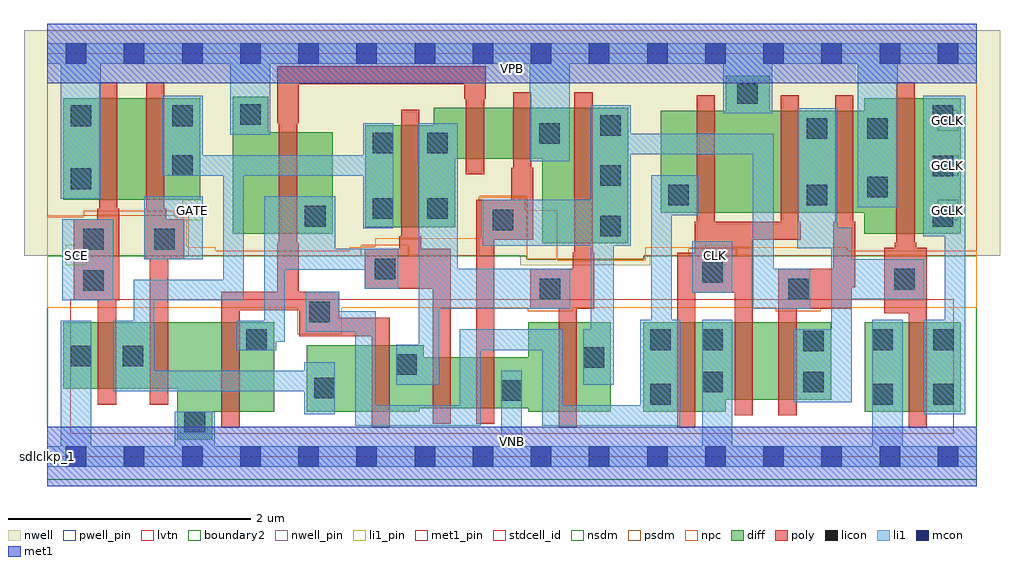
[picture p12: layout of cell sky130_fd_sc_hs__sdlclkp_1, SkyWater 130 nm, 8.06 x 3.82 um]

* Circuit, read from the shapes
.subckt sky130_fd_sc_hs__sdlclkp_1 CLK GATE GCLK SCE VGND VNB VPB VPWR
XM1 n1 SCE VGND VNB sky130_fd_pr__nfet_01v8_lvt w=0.55 l=0.15
XM2 VGND GATE n1 VNB sky130_fd_pr__nfet_01v8_lvt w=0.55 l=0.15
XM3 n2 n3 VGND VNB sky130_fd_pr__nfet_01v8_lvt w=0.74 l=0.15
XM4 n4 n3 n1 VNB sky130_fd_pr__nfet_01v8_lvt w=0.55 l=0.15
XM5 n5 n2 n4 VNB sky130_fd_pr__nfet_01v8_lvt w=0.42 l=0.15
XM6 VGND n6 n5 VNB sky130_fd_pr__nfet_01v8_lvt w=0.42 l=0.15
XM7 n6 n4 VGND VNB sky130_fd_pr__nfet_01v8_lvt w=0.74 l=0.15
XM8 VGND CLK n3 VNB sky130_fd_pr__nfet_01v8_lvt w=0.74 l=0.15
XM9 n7 CLK VGND VNB sky130_fd_pr__nfet_01v8_lvt w=0.64 l=0.15
XM10 n8 n6 n7 VNB sky130_fd_pr__nfet_01v8_lvt w=0.64 l=0.15
XM11 GCLK n8 VGND VNB sky130_fd_pr__nfet_01v8_lvt w=0.74 l=0.15
XM12 n9 SCE VPWR VPB sky130_fd_pr__pfet_01v8 w=0.84 l=0.15
XM13 n1 GATE n9 VPB sky130_fd_pr__pfet_01v8 w=0.84 l=0.15
XM14 n2 n3 VPWR VPB sky130_fd_pr__pfet_01v8 w=0.84 l=0.15
XM15 n4 n2 n1 VPB sky130_fd_pr__pfet_01v8 w=0.84 l=0.15
XM16 n10 n3 n4 VPB sky130_fd_pr__pfet_01v8 w=0.42 l=0.15
XM17 VPWR n6 n10 VPB sky130_fd_pr__pfet_01v8 w=0.42 l=0.15
XM18 n6 n4 VPWR VPB sky130_fd_pr__pfet_01v8 w=1.12 l=0.15
XM19 VPWR CLK n3 VPB sky130_fd_pr__pfet_01v8 w=0.84 l=0.15
XM20 n8 CLK VPWR VPB sky130_fd_pr__pfet_01v8 w=0.84 l=0.15
XM21 VPWR n6 n8 VPB sky130_fd_pr__pfet_01v8 w=0.84 l=0.15
XM22 GCLK n8 VPWR VPB sky130_fd_pr__pfet_01v8 w=1.12 l=0.15
.ends

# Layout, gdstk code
import gdstk
lib = gdstk.Library(unit=1e-6, precision=1e-09)
def R(c, l, rs):  # rectangles x0, y0, x1, y1
    for r in rs: c.add(gdstk.rectangle(r[:2], r[2:], *l))
def A(c, l, x, y, w, h, nx, ny, dx, dy):  # array of equal rectangles
    R(c, l, [(x+i*dx, y+j*dy, x+i*dx+w, y+j*dy+h) for i in range(nx) for j in range(ny)])
def P(c, l, *ps):  # polygons
    for p in ps: c.add(gdstk.Polygon(p, *l))
nwell_pin = (64, 16)
nwell = (64, 20)
diff = (65, 20)
poly = (66, 20)
licon = (66, 44)
li1_pin = (67, 16)
li1 = (67, 20)
mcon = (67, 44)
met1_pin = (68, 16)
met1 = (68, 20)
stdcell_id = (81, 4)
nsdm = (93, 44)
psdm = (94, 20)
npc = (95, 20)
pwell_pin = (122, 16)
lvtn = (125, 44)
boundary2 = (236, 0)

sky130_fd_sc_hs__sdlclkp = lib.new_cell('sky130_fd_sc_hs__sdlclkp_1')
R(sky130_fd_sc_hs__sdlclkp, nwell_pin, [(0,3.085,7.68,3.33)])
P(sky130_fd_sc_hs__sdlclkp, nwell, [(7.87,3.52),(-0.19,3.52),(-0.19,1.66),(3.91,1.66),(3.91,1.58),(4.98,1.58),(4.98,1.66),(7.87,1.66)])
R(sky130_fd_sc_hs__sdlclkp, diff, [(6.755,0.37,7.545,1.11), (0.135,2.12,1.265,2.96)])
P(sky130_fd_sc_hs__sdlclkp, diff, [(1.875,1.11),(0.135,1.11),(0.135,0.56),(1.075,0.56),(1.075,0.14),(1.365,0.14),(1.365,0.37),(1.875,0.37)],
  [(2.36,2.68),(1.825,2.68),(1.825,2.97),(1.535,2.97),(1.535,1.84),(2.36,1.84)],
  [(4.655,1.11),(3.975,1.11),(3.975,0.82),(3.11,0.82),(3.11,0.92),(2.145,0.92),(2.145,0.37),(3.08,0.37),(3.08,0.4),(3.975,0.4),(3.975,0.37),(4.655,0.37)],
  [(4.8,2.88),(3.195,2.88),(3.195,2.735),(2.63,2.735),(2.63,1.895),(3.37,1.895),(3.37,2.46),(4.09,2.46),(4.09,1.76),(4.8,1.76)],
  [(6.475,1.11),(4.925,1.11),(4.925,0.37),(5.605,0.37),(5.605,0.47),(6.475,0.47)],
  [(7.545,2.96),(6.75,2.96),(6.75,2.855),(5.97,2.855),(5.97,3.145),(5.605,3.145),(5.605,2.855),(5.07,2.855),(5.07,2.015),(6.75,2.015),(6.75,1.84),(7.545,1.84)])
P(sky130_fd_sc_hs__sdlclkp, poly, [(7.265,1.725),(7.18,1.725),(7.18,1.765),(7.165,1.765),(7.165,3.09),(7.015,3.09),(7.015,1.765),(7,1.765),(7,1.725),(6.915,1.725),(6.915,1.185),(7.115,1.185),(7.115,0.24),(7.265,0.24)],
  [(6.675,1.94),(6.66,1.94),(6.66,2.985),(6.51,2.985),(6.51,1.94),(6.495,1.94),(6.495,1.55),(6.04,1.55),(6.04,0.34),(6.19,0.34),(6.19,1.22),(6.645,1.22),(6.645,1.4),(6.675,1.4)],
  [(6.225,1.94),(6.21,1.94),(6.21,2.985),(6.06,2.985),(6.06,1.94),(5.515,1.94),(5.515,2.985),(5.365,2.985),(5.365,1.94),(5.35,1.94),(5.35,1.685),(5.205,1.685),(5.205,0.24),(5.355,0.24),(5.355,1.355),(5.68,1.355),(5.68,0.34),(5.83,0.34),(5.83,1.79),(6.225,1.79)],
  [(4.52,1.685),(4.505,1.685),(4.505,3.01),(4.355,3.01),(4.355,1.685),(4.34,1.685),(4.34,1.55),(3.99,1.55),(3.99,1.22),(4.225,1.22),(4.225,0.24),(4.375,0.24),(4.375,1.22),(4.52,1.22)],
  [(4.015,2.385),(4,2.385),(4,3.01),(3.85,3.01),(3.85,2.385),(3.835,2.385),(3.835,2.12),(3.545,2.12),(3.545,0.27),(3.695,0.27),(3.695,1.79),(4.015,1.79)],
  [(3.625,3.225),(1.9,3.225),(1.9,2.755),(1.915,2.755),(1.915,1.765),(1.9,1.765),(1.9,1.36),(1.44,1.36),(1.44,0.24),(1.59,0.24),(1.59,1.21),(2.085,1.21),(2.085,0.995),(2.68,0.995),(2.68,0.24),(2.83,0.24),(2.83,1.145),(2.415,1.145),(2.415,1.36),(2.08,1.36),(2.08,1.765),(2.065,1.765),(2.065,2.755),(2.08,2.755),(2.08,3.075),(3.445,3.075),(3.445,2.955),(3.46,2.955),(3.46,2.33),(3.61,2.33),(3.61,2.955),(3.625,2.955)],
  [(3.335,1.715),(3.09,1.715),(3.09,1.82),(3.075,1.82),(3.075,2.865),(2.925,2.865),(2.925,1.82),(2.91,1.82),(2.91,1.715),(2.625,1.715),(2.625,1.385),(3.185,1.385),(3.185,0.27),(3.335,0.27)],
  [(1.135,1.96),(0.985,1.96),(0.985,2.045),(0.97,2.045),(0.97,3.09),(0.82,3.09),(0.82,2.045),(0.805,2.045),(0.805,1.63),(0.85,1.63),(0.85,0.43),(1,0.43),(1,1.63),(1.135,1.63)],
  [(0.595,2.045),(0.58,2.045),(0.58,3.09),(0.43,3.09),(0.43,2.045),(0.415,2.045),(0.415,1.96),(0.22,1.96),(0.22,1.29),(0.42,1.29),(0.42,0.43),(0.57,0.43),(0.57,1.29),(0.595,1.29)])
A(sky130_fd_sc_hs__sdlclkp, licon, 4.57, 1.82, 0.17, 0.17, 1, 3, 0, 0.415)
A(sky130_fd_sc_hs__sdlclkp, licon, 7.315, 1.9, 0.17, 0.17, 1, 3, 0, 0.415)
R(sky130_fd_sc_hs__sdlclkp, licon, [(1.135,0.2,1.305,0.37), (4.98,0.43,5.15,0.6), (6.815,0.43,6.985,0.6), (7.32,0.43,7.49,0.6), (3.75,0.46,3.92,0.63), (2.205,0.48,2.375,0.65), (5.41,0.53,5.58,0.7), (6.245,0.53,6.415,0.7), (2.885,0.675,3.055,0.845), (4.43,0.735,4.6,0.905), (0.195,0.745,0.365,0.915), (0.625,0.745,0.795,0.915), (6.245,0.87,6.415,1.04), (1.645,0.88,1.815,1.05), (4.98,0.88,5.15,1.05), (5.41,0.88,5.58,1.05), (6.815,0.88,6.985,1.05), (7.32,0.88,7.49,1.05), (2.165,1.11,2.335,1.28), (4.07,1.3,4.24,1.47), (6.12,1.3,6.29,1.47), (0.3,1.37,0.47,1.54), (6.995,1.38,7.165,1.55), (5.41,1.435,5.58,1.605), (2.705,1.465,2.875,1.635), (0.3,1.71,0.47,1.88), (0.885,1.71,1.055,1.88), (3.68,1.87,3.85,2.04), (2.13,1.9,2.3,2.07), (2.69,1.965,2.86,2.135), (3.14,1.965,3.31,2.135), (5.13,2.075,5.3,2.245), (6.275,2.075,6.445,2.245), (6.775,2.14,6.945,2.31), (0.195,2.21,0.365,2.38), (1.035,2.32,1.205,2.49), (2.69,2.505,2.86,2.675), (3.14,2.505,3.31,2.675), (4.065,2.585,4.235,2.755), (6.275,2.625,6.445,2.795), (6.775,2.625,6.945,2.795), (0.195,2.73,0.365,2.9), (1.035,2.73,1.205,2.9), (1.595,2.74,1.765,2.91), (5.7,2.915,5.87,3.085)])
A(sky130_fd_sc_hs__sdlclkp, li1_pin, 7.355, 1.95, 0.17, 0.17, 1, 3, 0, 0.37)
R(sky130_fd_sc_hs__sdlclkp, li1_pin, [(0.155,1.58,0.325,1.75), (5.435,1.58,5.605,1.75), (1.115,1.95,1.285,2.12)])
R(sky130_fd_sc_hs__sdlclkp, li1, [(0.125,1.29,0.545,1.96), (5.33,1.355,5.66,1.78), (0.805,1.63,1.285,2.15)])
P(sky130_fd_sc_hs__sdlclkp, li1, [(0,-0.085),(0,0.085),(0.115,0.085),(0.115,1.12),(0.365,1.12),(0.365,0.085),(1.055,0.085),(1.055,0.37),(1.385,0.37),(1.385,0.085),(3.75,0.085),(3.75,0.71),(3.92,0.71),(3.92,0.085),(5.41,0.085),(5.41,1.13),(5.66,1.13),(5.66,0.085),(6.815,0.085),(6.815,1.13),(7.065,1.13),(7.065,0.085),(7.68,0.085),(7.68,-0.085)],
  [(0,3.245),(0,3.415),(7.68,3.415),(7.68,3.245),(7.025,3.245),(7.025,2.06),(6.695,2.06),(6.695,3.245),(5.99,3.245),(5.99,2.835),(5.585,2.835),(5.585,3.245),(4.315,3.245),(4.315,2.44),(3.985,2.44),(3.985,3.245),(1.845,3.245),(1.845,2.66),(1.515,2.66),(1.515,3.245),(0.445,3.245),(0.445,2.13),(0.115,2.13),(0.115,3.245)],
  [(7.235,1.82),(7.235,2.98),(7.585,2.98),(7.585,0.35),(7.24,0.35),(7.24,1.13),(7.415,1.13),(7.415,1.82)],
  [(0.545,0.54),(0.545,1.12),(0.715,1.12),(0.715,1.46),(1.455,1.46),(1.455,2.32),(0.955,2.32),(0.955,2.98),(1.285,2.98),(1.285,2.49),(2.61,2.49),(2.61,2.755),(2.86,2.755),(2.86,1.885),(2.61,1.885),(2.61,2.32),(1.625,2.32),(1.625,1.29),(0.885,1.29),(0.885,0.71),(2.125,0.71),(2.125,0.78),(2.375,0.78),(2.375,0.35),(2.125,0.35),(2.125,0.54)],
  [(3.07,2.425),(3.06,2.425),(3.06,2.755),(3.39,2.755),(3.39,1.55),(4.32,1.55),(4.32,1.22),(3.24,1.22),(3.24,0.595),(2.885,0.595),(2.885,0.925),(3.07,0.925)],
  [(4.26,0.425),(4.9,0.425),(4.9,1.13),(4.99,1.13),(4.99,2.325),(5.38,2.325),(5.38,1.995),(5.16,1.995),(5.16,1.13),(5.23,1.13),(5.23,0.255),(4.09,0.255),(4.09,0.88),(3.58,0.88),(3.58,0.255),(2.545,0.255),(2.545,1.03),(2.135,1.03),(2.135,1.36),(2.415,1.36),(2.415,1.2),(2.715,1.2),(2.715,0.425),(3.41,0.425),(3.41,1.05),(4.26,1.05)],
  [(4.49,2.12),(4.49,2.9),(4.82,2.9),(4.82,2.665),(6,2.665),(6,1.55),(6.305,1.55),(6.305,1.22),(5.83,1.22),(5.83,2.495),(4.82,2.495),(4.82,1.74),(4.68,1.74),(4.68,0.595),(4.43,0.595),(4.43,1.05),(4.49,1.05),(4.49,1.74),(3.6,1.74),(3.6,2.12)],
  [(6.195,2.875),(6.525,2.875),(6.525,1.89),(6.645,1.89),(6.645,1.63),(7.245,1.63),(7.245,1.3),(6.645,1.3),(6.645,0.45),(6.165,0.45),(6.165,1.05),(6.475,1.05),(6.475,1.72),(6.195,1.72)],
  [(1.795,2.15),(2.38,2.15),(2.38,1.715),(2.9,1.715),(2.9,1.385),(2.625,1.385),(2.625,1.545),(1.965,1.545),(1.965,0.95),(1.895,0.95),(1.895,0.88),(1.565,0.88),(1.565,1.12),(1.795,1.12)])
A(sky130_fd_sc_hs__sdlclkp, mcon, 0.155, -0.085, 0.17, 0.17, 16, 2, 0.48, 3.33)
R(sky130_fd_sc_hs__sdlclkp, met1_pin, [(0,0,7.68,0.245), (0,3.085,7.68,3.33)])
R(sky130_fd_sc_hs__sdlclkp, met1, [(0,-0.245,7.68,0.245), (0,3.085,7.68,3.575)])
R(sky130_fd_sc_hs__sdlclkp, stdcell_id, [(0,0,7.68,3.33)])
P(sky130_fd_sc_hs__sdlclkp, nsdm, [(7.68,1.66),(4.93,1.66),(4.93,1.63),(3.96,1.63),(3.96,1.66),(0,1.66),(0,-0.19),(7.68,-0.19)])
P(sky130_fd_sc_hs__sdlclkp, psdm, [(7.68,3.52),(0,3.52),(0,1.99),(1.165,1.99),(1.165,1.66),(2.595,1.66),(2.595,1.745),(2.985,1.745),(2.985,1.66),(3.57,1.66),(3.57,2.15),(3.96,2.15),(3.96,1.63),(4.93,1.63),(4.93,1.66),(5.3,1.66),(5.3,1.715),(5.69,1.715),(5.69,1.66),(7.68,1.66)])
P(sky130_fd_sc_hs__sdlclkp, npc, [(7.68,1.7),(6.61,1.7),(6.61,1.73),(4.94,1.73),(4.94,1.62),(4.215,1.62),(4.215,2.035),(3.95,2.035),(3.95,2.14),(3.58,2.14),(3.58,1.805),(2.71,1.805),(2.71,1.735),(2.605,1.735),(2.605,1.73),(2.5,1.73),(2.5,1.7),(1.395,1.7),(1.395,1.73),(1.155,1.73),(1.155,1.98),(1.05,1.98),(1.05,2.03),(0.305,2.03),(0.305,1.98),(0,1.98),(0,1.23),(2.065,1.23),(2.065,1.01),(2.435,1.01),(2.435,1.23),(3.97,1.23),(3.97,1.2),(4.34,1.2),(4.34,1.23),(6.02,1.23),(6.02,1.2),(6.39,1.2),(6.39,1.23),(7.68,1.23)])
R(sky130_fd_sc_hs__sdlclkp, pwell_pin, [(0,0,7.68,0.245)])
R(sky130_fd_sc_hs__sdlclkp, lvtn, [(0.19,0.19,7.49,1.3)])
R(sky130_fd_sc_hs__sdlclkp, boundary2, [(0,0,7.68,3.33)])
sky130_fd_sc_hs__sdlclkp.add(gdstk.Label('sdlclkp_1', (0,0), layer=83, texttype=44))
sky130_fd_sc_hs__sdlclkp.add(gdstk.Label('VNB', (3.84,0.123), layer=64, texttype=59))
sky130_fd_sc_hs__sdlclkp.add(gdstk.Label('VPB', (3.84,3.208), layer=64, texttype=5))
sky130_fd_sc_hs__sdlclkp.add(gdstk.Label('VPWR', (3.84,3.208), layer=68, texttype=5))
sky130_fd_sc_hs__sdlclkp.add(gdstk.Label('VGND', (3.84,0.123), layer=68, texttype=5))
sky130_fd_sc_hs__sdlclkp.add(gdstk.Label('GCLK', (7.44,2.035), layer=67, texttype=5))
sky130_fd_sc_hs__sdlclkp.add(gdstk.Label('GCLK', (7.44,2.405), layer=67, texttype=5))
sky130_fd_sc_hs__sdlclkp.add(gdstk.Label('GCLK', (7.44,2.775), layer=67, texttype=5))
sky130_fd_sc_hs__sdlclkp.add(gdstk.Label('CLK', (5.52,1.665), layer=67, texttype=5))
sky130_fd_sc_hs__sdlclkp.add(gdstk.Label('GATE', (1.2,2.035), layer=67, texttype=5))
sky130_fd_sc_hs__sdlclkp.add(gdstk.Label('SCE', (0.24,1.665), layer=67, texttype=5))

lib.write_gds('sky130_fd_sc_hs__sdlclkp_1.gds')
